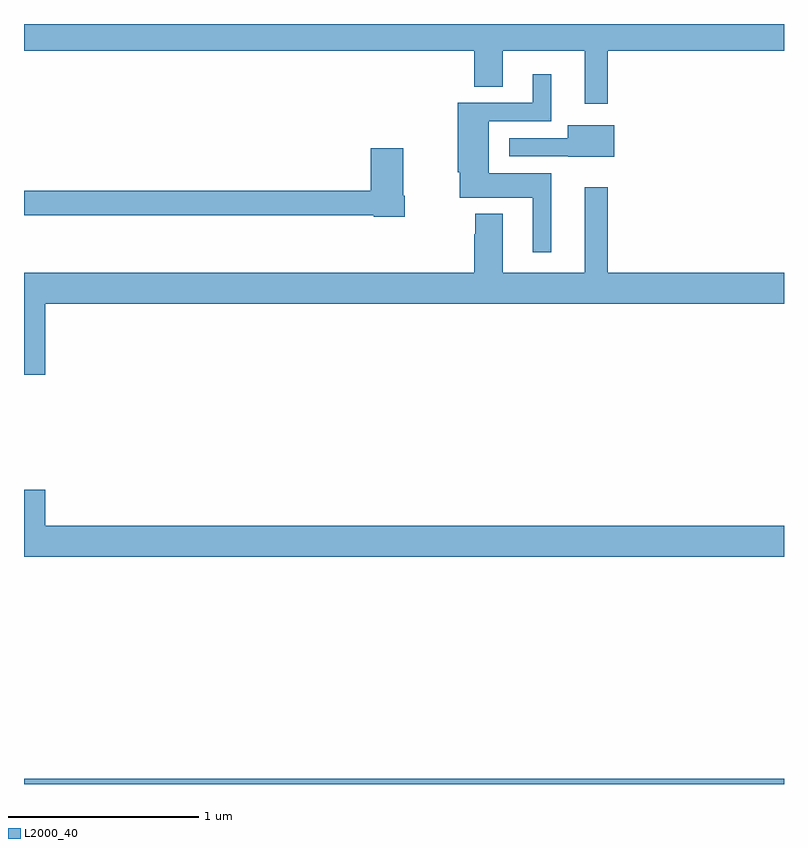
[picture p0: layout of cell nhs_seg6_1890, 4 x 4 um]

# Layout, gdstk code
import gdstk
lib = gdstk.Library(unit=1e-6, precision=1e-09)
def R(c, l, rs):  # rectangles x0, y0, x1, y1
    for r in rs: c.add(gdstk.rectangle(r[:2], r[2:], *l))
def P(c, l, *ps):  # polygons
    for p in ps: c.add(gdstk.Polygon(p, *l))
L2000_40 = (2000, 40)

nhs_seg6_1890 = lib.new_cell('nhs_seg6_1890')
R(nhs_seg6_1890, L2000_40, [(225,919.5,229,919.528)])
P(nhs_seg6_1890, L2000_40, [(228.073,923.36),(229,923.36),(229,923.5),(225,923.5),(225,923.36),(227.369,923.36),(227.369,923.17),(227.521,923.17),(227.521,923.36),(227.951,923.36),(227.951,923.079),(228.073,923.079)],
  [(227.776,922.714),(227.446,922.714),(227.446,922.989),(227.776,922.989),(227.776,923.236),(227.678,923.236),(227.678,923.085),(227.282,923.085),(227.282,922.719),(227.293,922.719),(227.293,922.586),(227.678,922.586),(227.678,922.299),(227.776,922.299)],
  [(228.106,922.966),(227.861,922.966),(227.861,922.899),(227.553,922.899),(227.553,922.803),(227.865,922.803),(227.865,922.802),(228.106,922.802)],
  [(227.004,922.597),(226.996,922.597),(226.996,922.846),(226.826,922.846),(226.826,922.622),(225,922.622),(225,922.494),(226.842,922.494),(226.842,922.486),(227.004,922.486)],
  [(225.112,922.028),(229,922.028),(229,922.192),(228.073,922.192),(228.073,922.642),(227.951,922.642),(227.951,922.192),(227.521,922.192),(227.521,922.501),(227.374,922.501),(227.374,922.394),(227.369,922.394),(227.369,922.192),(225,922.192),(225,921.654),(225.112,921.654)],
  [(229,920.86),(225.112,920.86),(225.112,921.049),(225,921.049),(225,920.696),(229,920.696)])

lib.write_gds('nhs_seg6_1890.gds')
